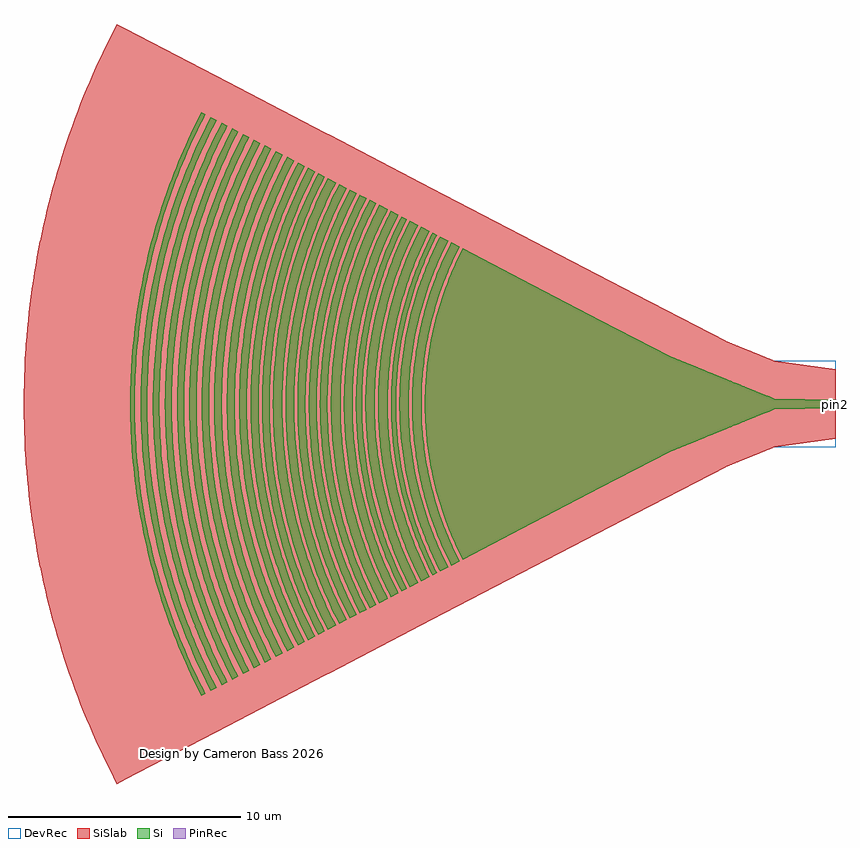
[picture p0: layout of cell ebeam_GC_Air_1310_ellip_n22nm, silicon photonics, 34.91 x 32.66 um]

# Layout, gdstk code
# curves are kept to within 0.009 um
import gdstk
lib = gdstk.Library(unit=1e-6, precision=1e-09)
def P(c, l, *ps):  # polygons
    for p in ps: c.add(gdstk.Polygon(p, *l))
Si = (1, 0)
PinRec = (1, 10)
SiSlab = (2, 0)
DevRec = (68, 0)

ebeam_gc_air_1310_ellip_ = lib.new_cell('ebeam_GC_Air_1310_ellip_n22nm')
P(ebeam_gc_air_1310_ellip_, Si, [(-16.038,-6.686),(-16.447,-5.831),(-16.763,-5.045),(-16.992,-4.377),(-17.257,-3.426),(-17.432,-2.597),(-17.559,-1.76),(-17.637,-0.916),(-17.665,-0.071),(-17.645,0.776),(-17.575,1.621),(-17.456,2.458),(-17.29,3.289),(-17.074,4.108),(-16.763,5.045),(-16.447,5.831),(-16.039,6.686),(-7.161,2.063),(-3.162,0.431),(-2.886,0.33),(-2.7,0.241),(-2.652,0.228),(0,0.175),(0,-0.175),(-2.684,-0.236),(-2.869,-0.323),(-3.209,-0.45),(-7.132,-2.05)],
  [(-16.53,-6.941),(-16.893,-6.19),(-17.229,-5.377),(-17.518,-4.546),(-17.758,-3.701),(-17.948,-2.842),(-18.088,-1.973),(-18.187,-0.952),(-18.217,-0.073),(-18.196,0.806),(-18.123,1.683),(-17.975,2.698),(-17.793,3.558),(-17.684,3.984),(-17.518,4.546),(-17.229,5.377),(-16.893,6.19),(-16.53,6.942),(-16.167,6.752),(-16.521,6.019),(-16.899,5.096),(-17.171,4.285),(-17.396,3.46),(-17.574,2.624),(-17.702,1.778),(-17.789,0.784),(-17.809,0.071),(-17.789,-0.784),(-17.702,-1.778),(-17.574,-2.623),(-17.396,-3.46),(-17.171,-4.285),(-16.899,-5.096),(-16.521,-6.019),(-16.167,-6.752)],
  [(-17.011,-7.192),(-17.387,-6.414),(-17.736,-5.572),(-18.034,-4.711),(-18.283,-3.834),(-18.479,-2.945),(-18.624,-2.045),(-18.717,-1.138),(-18.744,-0.683),(-18.758,-0.076),(-18.736,0.835),(-18.661,1.743),(-18.604,2.196),(-18.507,2.795),(-18.319,3.687),(-18.165,4.275),(-18.034,4.712),(-17.735,5.572),(-17.387,6.414),(-17.011,7.192),(-16.658,7.008),(-17.084,6.114),(-17.416,5.291),(-17.699,4.448),(-17.933,3.592),(-18.117,2.724),(-18.25,1.846),(-18.331,0.961),(-18.361,0.074),(-18.34,-0.813),(-18.25,-1.846),(-18.117,-2.724),(-17.933,-3.592),(-17.699,-4.448),(-17.416,-5.291),(-17.084,-6.114),(-16.658,-7.008)],
  [(-17.331,-7.36),(-17.716,-6.562),(-18.072,-5.701),(-18.378,-4.82),(-18.633,-3.923),(-18.834,-3.013),(-18.939,-2.4),(-19.002,-1.938),(-19.088,-1.009),(-19.119,-0.078),(-19.097,0.855),(-19.002,1.938),(-18.862,2.86),(-18.67,3.773),(-18.424,4.672),(-18.127,5.555),(-17.96,5.991),(-17.716,6.563),(-17.331,7.36),(-17.14,7.259),(-17.58,6.333),(-17.976,5.336),(-18.125,4.901),(-18.303,4.314),(-18.561,3.273),(-18.725,2.367),(-18.821,1.607),(-18.88,0.843),(-18.902,0.077),(-18.88,-0.843),(-18.821,-1.607),(-18.725,-2.367),(-18.561,-3.272),(-18.303,-4.314),(-18.125,-4.901),(-17.976,-5.335),(-17.815,-5.766),(-17.58,-6.333),(-17.14,-7.259)],
  [(-17.827,-7.617),(-18.29,-6.645),(-18.65,-5.75),(-18.958,-4.835),(-19.212,-3.905),(-19.411,-2.96),(-19.555,-2.006),(-19.644,-1.045),(-19.677,-0.08),(-19.653,0.885),(-19.574,1.846),(-19.439,2.802),(-19.212,3.905),(-18.958,4.835),(-18.65,5.75),(-18.477,6.201),(-18.225,6.793),(-17.827,7.617),(-17.46,7.425),(-17.911,6.479),(-18.207,5.753),(-18.516,4.864),(-18.772,3.959),(-18.914,3.348),(-19.005,2.886),(-19.145,1.956),(-19.209,1.332),(-19.241,0.862),(-19.263,0.078),(-19.241,-0.862),(-19.209,-1.332),(-19.145,-1.956),(-19.005,-2.886),(-18.809,-3.806),(-18.562,-4.714),(-18.262,-5.606),(-17.911,-6.479),(-17.46,-7.425)],
  [(-18.307,-7.867),(-18.58,-7.316),(-18.786,-6.862),(-19.157,-5.938),(-19.476,-4.993),(-19.738,-4.032),(-19.943,-3.057),(-20.093,-2.071),(-20.184,-1.08),(-20.218,-0.083),(-20.194,0.914),(-20.112,1.907),(-20,2.729),(-19.777,3.871),(-19.614,4.515),(-19.476,4.993),(-19.157,5.938),(-18.786,6.863),(-18.58,7.316),(-18.307,7.867),(-17.957,7.684),(-18.358,6.852),(-18.787,5.801),(-19.097,4.879),(-19.353,3.939),(-19.555,2.986),(-19.7,2.024),(-19.79,1.054),(-19.823,0.081),(-19.799,-0.892),(-19.719,-1.862),(-19.635,-2.506),(-19.555,-2.986),(-19.353,-3.938),(-19.097,-4.877),(-18.787,-5.801),(-18.358,-6.852),(-17.957,-7.684)],
  [(-18.669,-8.055),(-19.091,-7.181),(-19.482,-6.238),(-19.71,-5.598),(-19.866,-5.113),(-20.135,-4.128),(-20.345,-3.13),(-20.498,-2.12),(-20.592,-1.104),(-20.626,-0.085),(-20.602,0.935),(-20.518,1.952),(-20.375,2.962),(-20.247,3.63),(-20.135,4.128),(-20.008,4.622),(-19.816,5.275),(-19.482,6.238),(-19.091,7.181),(-18.669,8.055),(-18.436,7.934),(-18.639,7.53),(-18.918,6.921),(-19.174,6.302),(-19.351,5.832),(-19.514,5.356),(-19.708,4.715),(-19.838,4.229),(-19.99,3.577),(-20.169,2.587),(-20.274,1.756),(-20.339,0.921),(-20.363,0.084),(-20.339,-0.921),(-20.274,-1.756),(-20.169,-2.587),(-20.024,-3.412),(-19.917,-3.903),(-19.753,-4.553),(-19.565,-5.196),(-19.407,-5.673),(-19.235,-6.145),(-18.985,-6.767),(-18.711,-7.378),(-18.436,-7.933)],
  [(-19.127,-8.294),(-19.562,-7.394),(-19.837,-6.749),(-20.025,-6.259),(-20.36,-5.263),(-20.637,-4.25),(-20.853,-3.222),(-21.011,-2.183),(-21.107,-1.137),(-21.143,-0.088),(-21.133,0.613),(-21.107,1.137),(-21.011,2.183),(-20.853,3.222),(-20.637,4.25),(-20.36,5.263),(-20.025,6.259),(-19.633,7.234),(-19.416,7.712),(-19.128,8.294),(-18.799,8.122),(-19.224,7.241),(-19.492,6.609),(-19.677,6.13),(-20.005,5.154),(-20.276,4.162),(-20.425,3.492),(-20.519,2.987),(-20.663,1.968),(-20.747,0.943),(-20.772,-0.086),(-20.737,-1.114),(-20.643,-2.139),(-20.489,-3.156),(-20.276,-4.162),(-20.005,-5.154),(-19.677,-6.13),(-19.293,-7.084),(-19.081,-7.552),(-18.799,-8.122)],
  [(-19.626,-8.554),(-20.073,-7.627),(-20.488,-6.626),(-20.842,-5.602),(-21.138,-4.56),(-21.371,-3.502),(-21.544,-2.432),(-21.654,-1.353),(-21.685,-0.813),(-21.703,-0.09),(-21.677,0.993),(-21.587,2.074),(-21.436,3.146),(-21.3,3.855),(-21.181,4.385),(-20.896,5.429),(-20.672,6.117),(-20.488,6.626),(-20.073,7.627),(-19.626,8.554),(-19.257,8.361),(-19.471,7.934),(-19.766,7.292),(-20.1,6.475),(-20.28,5.977),(-20.499,5.306),(-20.777,4.284),(-20.997,3.248),(-21.155,2.202),(-21.252,1.146),(-21.288,0.088),(-21.283,-0.442),(-21.252,-1.146),(-21.155,-2.201),(-20.997,-3.248),(-20.777,-4.284),(-20.499,-5.305),(-20.337,-5.81),(-20.1,-6.475),(-19.766,-7.292),(-19.471,-7.933),(-19.257,-8.361)],
  [(-20.041,-8.77),(-20.501,-7.817),(-20.926,-6.791),(-21.29,-5.741),(-21.449,-5.21),(-21.637,-4.494),(-21.866,-3.407),(-22.032,-2.308),(-22.134,-1.203),(-22.172,-0.093),(-22.145,1.018),(-22.054,2.124),(-21.984,2.676),(-21.866,3.407),(-21.637,4.494),(-21.344,5.565),(-20.99,6.617),(-20.576,7.648),(-20.346,8.153),(-20.041,8.77),(-19.759,8.622),(-19.979,8.182),(-20.283,7.521),(-20.562,6.848),(-20.753,6.336),(-20.985,5.647),(-21.141,5.123),(-21.282,4.595),(-21.447,3.887),(-21.613,2.992),(-21.736,2.089),(-21.826,1.001),(-21.852,0.091),(-21.842,-0.637),(-21.773,-1.727),(-21.668,-2.631),(-21.484,-3.707),(-21.367,-4.241),(-21.19,-4.948),(-20.985,-5.646),(-20.753,-6.336),(-20.494,-7.016),(-20.283,-7.52),(-19.979,-8.182),(-19.759,-8.622)],
  [(-20.461,-8.989),(-20.934,-8.01),(-21.37,-6.958),(-21.742,-5.883),(-22.053,-4.788),(-22.184,-4.234),(-22.333,-3.491),(-22.503,-2.365),(-22.608,-1.232),(-22.647,-0.095),(-22.619,1.043),(-22.525,2.178),(-22.366,3.304),(-22.262,3.863),(-22.098,4.605),(-21.798,5.703),(-21.625,6.244),(-21.37,6.958),(-20.934,8.01),(-20.461,8.989),(-20.171,8.837),(-20.398,8.384),(-20.709,7.706),(-20.925,7.19),(-21.191,6.492),(-21.372,5.963),(-21.588,5.249),(-21.778,4.527),(-21.902,3.982),(-22.101,2.88),(-22.218,1.955),(-22.29,1.025),(-22.317,0.093),(-22.299,-0.839),(-22.236,-1.77),(-22.128,-2.696),(-21.94,-3.799),(-21.778,-4.527),(-21.638,-5.07),(-21.483,-5.607),(-21.253,-6.316),(-21.062,-6.842),(-20.783,-7.535),(-20.478,-8.215),(-20.171,-8.837)],
  [(-20.896,-9.215),(-21.382,-8.208),(-21.613,-7.673),(-21.827,-7.131),(-22.027,-6.583),(-22.21,-6.029),(-22.529,-4.907),(-22.663,-4.339),(-22.816,-3.577),(-22.991,-2.424),(-23.098,-1.263),(-23.137,-0.097),(-23.132,0.486),(-23.098,1.263),(-22.991,2.424),(-22.816,3.578),(-22.575,4.719),(-22.268,5.844),(-21.896,6.949),(-21.687,7.493),(-21.461,8.031),(-21.219,8.562),(-20.896,9.215),(-20.595,9.057),(-20.912,8.416),(-21.148,7.895),(-21.37,7.366),(-21.642,6.652),(-21.886,5.927),(-22.05,5.378),(-22.244,4.638),(-22.371,4.08),(-22.546,3.14),(-22.675,2.193),(-22.758,1.241),(-22.797,0.096),(-22.778,-0.86),(-22.714,-1.813),(-22.603,-2.762),(-22.41,-3.892),(-22.244,-4.638),(-22.101,-5.194),(-21.886,-5.927),(-21.706,-6.471),(-21.51,-7.01),(-21.224,-7.719),(-20.912,-8.416),(-20.595,-9.057)],
  [(-21.347,-9.45),(-21.679,-8.781),(-21.926,-8.235),(-22.158,-7.684),(-22.372,-7.126),(-22.754,-5.993),(-23.069,-4.839),(-23.316,-3.669),(-23.495,-2.486),(-23.605,-1.294),(-23.645,-0.1),(-23.64,0.498),(-23.605,1.295),(-23.495,2.486),(-23.316,3.669),(-23.069,4.839),(-22.754,5.993),(-22.372,7.126),(-22.158,7.685),(-21.926,8.236),(-21.679,8.781),(-21.347,9.45),(-21.025,9.281),(-21.266,8.801),(-21.593,8.089),(-21.82,7.547),(-22.099,6.815),(-22.349,6.073),(-22.517,5.51),(-22.715,4.752),(-22.886,3.988),(-23.055,3.024),(-23.178,2.052),(-23.254,1.076),(-23.282,0.098),(-23.263,-0.881),(-23.197,-1.858),(-23.084,-2.83),(-22.886,-3.987),(-22.715,-4.752),(-22.517,-5.51),(-22.349,-6.073),(-22.099,-6.815),(-21.893,-7.365),(-21.593,-8.089),(-21.35,-8.623),(-21.025,-9.281)],
  [(-21.835,-9.703),(-22.174,-9.018),(-22.428,-8.458),(-22.666,-7.892),(-22.886,-7.318),(-23.091,-6.74),(-23.278,-6.155),(-23.449,-5.564),(-23.602,-4.97),(-23.738,-4.371),(-23.855,-3.768),(-23.956,-3.162),(-24.039,-2.553),(-24.152,-1.33),(-24.182,-0.716),(-24.193,-0.102),(-24.164,1.126),(-24.063,2.35),(-23.956,3.162),(-23.855,3.768),(-23.738,4.371),(-23.602,4.97),(-23.449,5.565),(-23.278,6.155),(-23.091,6.74),(-22.886,7.319),(-22.666,7.892),(-22.428,8.458),(-22.174,9.018),(-21.835,9.704),(-21.476,9.516),(-21.81,8.842),(-22.058,8.294),(-22.365,7.552),(-22.577,6.988),(-22.772,6.418),(-23.005,5.65),(-23.161,5.068),(-23.343,4.286),(-23.526,3.299),(-23.662,2.305),(-23.761,1.104),(-23.79,0.1),(-23.771,-0.903),(-23.703,-1.905),(-23.639,-2.504),(-23.557,-3.1),(-23.383,-4.089),(-23.209,-4.873),(-23.059,-5.456),(-22.833,-6.226),(-22.644,-6.798),(-22.438,-7.365),(-22.138,-8.11),(-21.81,-8.842),(-21.476,-9.516)],
  [(-22.249,-9.919),(-22.771,-8.836),(-23.02,-8.259),(-23.251,-7.676),(-23.663,-6.49),(-23.843,-5.889),(-24.056,-5.08),(-24.314,-3.851),(-24.417,-3.232),(-24.502,-2.609),(-24.569,-1.985),(-24.618,-1.36),(-24.66,-0.105),(-24.654,0.524),(-24.63,1.151),(-24.527,2.401),(-24.448,3.025),(-24.351,3.645),(-24.236,4.262),(-24.056,5.08),(-23.725,6.291),(-23.533,6.889),(-23.251,7.676),(-23.02,8.26),(-22.771,8.837),(-22.249,9.919),(-21.964,9.77),(-22.305,9.079),(-22.56,8.517),(-22.875,7.755),(-23.093,7.175),(-23.293,6.591),(-23.532,5.802),(-23.692,5.204),(-23.879,4.401),(-23.998,3.794),(-24.099,3.183),(-24.228,2.161),(-24.308,1.133),(-24.338,0.103),(-24.308,-1.133),(-24.228,-2.161),(-24.099,-3.183),(-23.998,-3.794),(-23.879,-4.401),(-23.692,-5.204),(-23.532,-5.801),(-23.293,-6.59),(-23.093,-7.175),(-22.876,-7.754),(-22.56,-8.516),(-22.305,-9.079),(-21.964,-9.77)],
  [(-22.683,-10.145),(-22.948,-9.617),(-23.219,-9.035),(-23.474,-8.445),(-23.71,-7.849),(-23.929,-7.246),(-24.194,-6.433),(-24.373,-5.815),(-24.533,-5.194),(-24.675,-4.568),(-24.797,-3.938),(-24.903,-3.305),(-24.99,-2.668),(-25.058,-2.03),(-25.108,-1.389),(-25.139,-0.749),(-25.151,-0.107),(-25.145,0.536),(-25.12,1.177),(-25.077,1.817),(-25.015,2.455),(-24.934,3.093),(-24.835,3.727),(-24.675,4.568),(-24.533,5.194),(-24.373,5.815),(-24.194,6.433),(-23.998,7.044),(-23.785,7.649),(-23.555,8.248),(-23.306,8.84),(-23.04,9.425),(-22.683,10.145),(-22.381,9.987),(-22.731,9.279),(-22.992,8.704),(-23.314,7.925),(-23.536,7.334),(-23.805,6.535),(-23.985,5.929),(-24.149,5.318),(-24.34,4.498),(-24.532,3.463),(-24.675,2.418),(-24.766,1.368),(-24.797,0.738),(-24.809,0.105),(-24.789,-0.948),(-24.697,-2.208),(-24.565,-3.253),(-24.34,-4.498),(-24.149,-5.318),(-23.985,-5.929),(-23.805,-6.535),(-23.536,-7.333),(-23.314,-7.925),(-22.992,-8.704),(-22.731,-9.279),(-22.381,-9.987)],
  [(-23.115,-10.37),(-23.484,-9.627),(-23.755,-9.03),(-24.009,-8.426),(-24.245,-7.813),(-24.463,-7.195),(-24.663,-6.571),(-24.845,-5.941),(-25.009,-5.306),(-25.28,-4.023),(-25.387,-3.376),(-25.476,-2.726),(-25.546,-2.074),(-25.597,-1.419),(-25.629,-0.765),(-25.641,-0.109),(-25.635,0.547),(-25.61,1.202),(-25.565,1.856),(-25.502,2.508),(-25.419,3.16),(-25.28,4.023),(-25.009,5.306),(-24.845,5.941),(-24.663,6.571),(-24.463,7.196),(-24.245,7.814),(-24.009,8.426),(-23.755,9.03),(-23.484,9.627),(-23.115,10.37),(-22.829,10.221),(-23.189,9.491),(-23.542,8.706),(-23.786,8.107),(-24.013,7.501),(-24.288,6.685),(-24.473,6.065),(-24.64,5.441),(-24.836,4.601),(-25.033,3.542),(-25.126,2.902),(-25.201,2.259),(-25.284,1.185),(-25.316,0.108),(-25.295,-0.97),(-25.257,-1.615),(-25.201,-2.259),(-25.033,-3.542),(-24.836,-4.601),(-24.692,-5.231),(-24.473,-6.065),(-24.288,-6.685),(-24.013,-7.501),(-23.786,-8.107),(-23.456,-8.903),(-23.189,-9.491),(-22.829,-10.22)],
  [(-23.584,-10.615),(-24.152,-9.442),(-24.418,-8.825),(-24.665,-8.202),(-24.895,-7.572),(-25.106,-6.935),(-25.299,-6.292),(-25.473,-5.645),(-25.628,-4.991),(-25.803,-4.115),(-25.914,-3.453),(-26.005,-2.788),(-26.076,-2.121),(-26.128,-1.453),(-26.161,-0.782),(-26.174,-0.112),(-26.167,0.56),(-26.141,1.23),(-26.096,1.899),(-26.031,2.566),(-25.946,3.232),(-25.842,3.895),(-25.674,4.774),(-25.526,5.428),(-25.359,6.077),(-25.172,6.722),(-24.967,7.361),(-24.744,7.993),(-24.503,8.619),(-24.243,9.237),(-23.965,9.848),(-23.584,10.615),(-23.287,10.459),(-23.564,9.907),(-23.932,9.106),(-24.188,8.496),(-24.502,7.672),(-24.716,7.047),(-24.973,6.203),(-25.144,5.565),(-25.344,4.706),(-25.546,3.622),(-25.695,2.529),(-25.758,1.872),(-25.803,1.212),(-25.835,0.11),(-25.814,-0.992),(-25.776,-1.652),(-25.718,-2.31),(-25.641,-2.967),(-25.546,-3.622),(-25.344,-4.706),(-25.144,-5.564),(-24.973,-6.203),(-24.716,-7.046),(-24.502,-7.671),(-24.188,-8.496),(-23.932,-9.106),(-23.564,-9.907),(-23.287,-10.459)],
  [(-24.067,-10.866),(-24.361,-10.281),(-24.651,-9.659),(-24.924,-9.028),(-25.177,-8.391),(-25.412,-7.747),(-25.696,-6.876),(-25.887,-6.217),(-26.058,-5.553),(-26.162,-5.106),(-26.342,-4.21),(-26.455,-3.533),(-26.548,-2.852),(-26.621,-2.17),(-26.674,-1.486),(-26.708,-0.8),(-26.721,-0.114),(-26.714,0.573),(-26.688,1.258),(-26.621,2.17),(-26.548,2.853),(-26.455,3.533),(-26.342,4.21),(-26.162,5.107),(-26.058,5.553),(-25.887,6.217),(-25.696,6.877),(-25.412,7.747),(-25.177,8.391),(-24.924,9.029),(-24.651,9.659),(-24.361,10.282),(-24.067,10.866),(-23.775,10.713),(-24.062,10.141),(-24.439,9.321),(-24.785,8.487),(-25.023,7.854),(-25.311,6.998),(-25.505,6.349),(-25.735,5.476),(-25.885,4.817),(-26.092,3.708),(-26.245,2.589),(-26.343,1.465),(-26.376,0.79),(-26.389,0.113),(-26.367,-1.015),(-26.327,-1.691),(-26.269,-2.365),(-26.127,-3.484),(-26.016,-4.152),(-25.885,-4.816),(-25.735,-5.476),(-25.505,-6.349),(-25.311,-6.998),(-25.023,-7.853),(-24.785,-8.487),(-24.439,-9.321),(-24.062,-10.141),(-23.775,-10.713)],
  [(-24.537,-11.111),(-24.84,-10.509),(-25.137,-9.873),(-25.416,-9.228),(-25.674,-8.577),(-25.915,-7.918),(-26.136,-7.252),(-26.4,-6.355),(-26.576,-5.676),(-26.682,-5.22),(-26.866,-4.303),(-26.981,-3.611),(-27.076,-2.916),(-27.151,-2.218),(-27.206,-1.518),(-27.24,-0.818),(-27.253,-0.117),(-27.24,0.818),(-27.206,1.519),(-27.151,2.219),(-27.076,2.916),(-26.981,3.611),(-26.866,4.303),(-26.682,5.22),(-26.576,5.676),(-26.4,6.355),(-26.136,7.252),(-25.915,7.918),(-25.674,8.577),(-25.416,9.229),(-25.137,9.873),(-24.84,10.51),(-24.537,11.111),(-24.256,10.964),(-24.653,10.164),(-24.94,9.534),(-25.208,8.895),(-25.537,8.033),(-25.832,7.158),(-26.03,6.495),(-26.21,5.825),(-26.369,5.152),(-26.593,4.02),(-26.7,3.336),(-26.787,2.648),(-26.888,1.499),(-26.921,0.808),(-26.934,0.115),(-26.928,-0.577),(-26.901,-1.269),(-26.811,-2.419),(-26.731,-3.107),(-26.631,-3.792),(-26.419,-4.926),(-26.21,-5.825),(-26.03,-6.494),(-25.832,-7.158),(-25.537,-8.032),(-25.294,-8.681),(-24.94,-9.534),(-24.653,-10.164),(-24.256,-10.964)],
  [(-25.01,-11.357),(-25.321,-10.739),(-25.625,-10.09),(-25.909,-9.431),(-26.175,-8.765),(-26.419,-8.092),(-26.645,-7.411),(-26.852,-6.724),(-27.038,-6.031),(-27.203,-5.334),(-27.348,-4.632),(-27.472,-3.926),(-27.577,-3.217),(-27.66,-2.505),(-27.723,-1.79),(-27.774,-0.836),(-27.788,-0.12),(-27.781,0.597),(-27.753,1.314),(-27.704,2.029),(-27.635,2.742),(-27.544,3.454),(-27.392,4.397),(-27.254,5.102),(-27.095,5.8),(-26.916,6.494),(-26.716,7.183),(-26.497,7.866),(-26.175,8.765),(-25.909,9.432),(-25.625,10.09),(-25.321,10.739),(-25.01,11.357),(-24.736,11.214),(-25.042,10.606),(-25.437,9.748),(-25.711,9.095),(-25.967,8.436),(-26.203,7.768),(-26.487,6.867),(-26.677,6.186),(-26.899,5.268),(-27.128,4.111),(-27.237,3.411),(-27.326,2.709),(-27.395,2.004),(-27.443,1.297),(-27.477,0.118),(-27.47,-0.589),(-27.443,-1.297),(-27.351,-2.473),(-27.203,-3.644),(-27.087,-4.343),(-26.95,-5.037),(-26.736,-5.956),(-26.552,-6.64),(-26.277,-7.544),(-26.048,-8.213),(-25.799,-8.876),(-25.437,-9.748),(-25.042,-10.606),(-24.736,-11.213)],
  [(-25.472,-11.597),(-25.79,-10.965),(-26.1,-10.302),(-26.39,-9.63),(-26.66,-8.949),(-26.911,-8.262),(-27.142,-7.567),(-27.353,-6.866),(-27.543,-6.159),(-27.764,-5.209),(-27.904,-4.49),(-28.025,-3.768),(-28.124,-3.042),(-28.202,-2.315),(-28.259,-1.584),(-28.294,-0.854),(-28.309,-0.122),(-28.294,0.854),(-28.259,1.584),(-28.202,2.315),(-28.124,3.042),(-28.025,3.768),(-27.904,4.49),(-27.764,5.209),(-27.601,5.922),(-27.418,6.631),(-27.215,7.333),(-26.991,8.031),(-26.746,8.721),(-26.483,9.404),(-26.199,10.079),(-25.895,10.746),(-25.472,11.597),(-25.21,11.46),(-25.628,10.619),(-25.927,9.961),(-26.297,9.07),(-26.552,8.392),(-26.86,7.479),(-27.067,6.786),(-27.255,6.086),(-27.422,5.383),(-27.569,4.674),(-27.695,3.963),(-27.858,2.768),(-27.928,2.048),(-27.977,1.326),(-28.012,0.121),(-27.989,-1.085),(-27.947,-1.807),(-27.884,-2.527),(-27.8,-3.246),(-27.695,-3.962),(-27.474,-5.146),(-27.255,-6.086),(-27.067,-6.785),(-26.86,-7.479),(-26.552,-8.392),(-26.297,-9.07),(-25.927,-9.961),(-25.628,-10.619),(-25.21,-11.46)],
  [(-25.937,-11.839),(-26.262,-11.193),(-26.579,-10.516),(-26.875,-9.83),(-27.151,-9.136),(-27.407,-8.434),(-27.643,-7.724),(-27.858,-7.009),(-28.052,-6.286),(-28.277,-5.316),(-28.421,-4.583),(-28.543,-3.846),(-28.645,-3.105),(-28.725,-2.363),(-28.783,-1.618),(-28.819,-0.871),(-28.833,-0.125),(-28.819,0.871),(-28.783,1.618),(-28.725,2.363),(-28.645,3.106),(-28.543,3.847),(-28.421,4.583),(-28.276,5.316),(-28.111,6.045),(-27.925,6.769),(-27.717,7.486),(-27.488,8.198),(-27.239,8.902),(-26.97,9.6),(-26.579,10.516),(-26.262,11.193),(-25.937,11.84),(-25.68,11.705),(-26.001,11.068),(-26.413,10.173),(-26.699,9.491),(-27.051,8.57),(-27.29,7.872),(-27.578,6.93),(-27.769,6.216),(-27.993,5.257),(-28.218,4.047),(-28.385,2.826),(-28.457,2.091),(-28.507,1.354),(-28.543,0.123),(-28.535,-0.615),(-28.507,-1.354),(-28.411,-2.581),(-28.256,-3.802),(-28.135,-4.531),(-27.993,-5.257),(-27.769,-6.215),(-27.578,-6.929),(-27.29,-7.872),(-27.051,-8.57),(-26.791,-9.262),(-26.413,-10.172),(-26.001,-11.067),(-25.68,-11.705)],
  [(-26.396,-12.078),(-26.728,-11.418),(-27.051,-10.728),(-27.544,-9.556),(-27.896,-8.603),(-28.136,-7.879),(-28.355,-7.149),(-28.553,-6.414),(-28.783,-5.423),(-28.93,-4.675),(-29.055,-3.924),(-29.158,-3.168),(-29.24,-2.41),(-29.299,-1.651),(-29.336,-0.889),(-29.351,-0.127),(-29.343,0.636),(-29.314,1.397),(-29.262,2.157),(-29.188,2.916),(-29.092,3.672),(-28.93,4.675),(-28.782,5.424),(-28.614,6.167),(-28.424,6.905),(-28.212,7.637),(-27.978,8.363),(-27.724,9.081),(-27.45,9.793),(-27.051,10.728),(-26.728,11.418),(-26.396,12.078),(-26.149,11.949),(-26.477,11.298),(-26.898,10.384),(-27.283,9.455),(-27.549,8.75),(-27.793,8.036),(-28.087,7.074),(-28.282,6.345),(-28.456,5.612),(-28.61,4.873),(-28.741,4.131),(-28.911,2.886),(-29.021,1.633),(-29.057,0.88),(-29.072,0.126),(-29.064,-0.628),(-29.035,-1.382),(-28.938,-2.635),(-28.85,-3.384),(-28.741,-4.131),(-28.61,-4.873),(-28.456,-5.612),(-28.282,-6.345),(-28.017,-7.315),(-27.714,-8.274),(-27.463,-8.985),(-27.19,-9.688),(-26.898,-10.384),(-26.586,-11.07),(-26.149,-11.949)],
  [(-26.866,-12.323),(-27.31,-11.429),(-27.632,-10.721),(-27.934,-10.003),(-28.214,-9.276),(-28.473,-8.543),(-28.711,-7.801),(-28.927,-7.053),(-29.122,-6.299),(-29.293,-5.539),(-29.443,-4.776),(-29.571,-4.008),(-29.677,-3.236),(-29.759,-2.462),(-29.82,-1.685),(-29.858,-0.908),(-29.873,-0.13),(-29.858,0.908),(-29.82,1.685),(-29.759,2.462),(-29.677,3.236),(-29.571,4.008),(-29.443,4.776),(-29.294,5.541),(-29.122,6.299),(-28.927,7.053),(-28.711,7.801),(-28.473,8.543),(-28.214,9.277),(-27.934,10.003),(-27.632,10.721),(-27.31,11.429),(-26.866,12.324),(-26.616,12.193),(-26.951,11.527),(-27.381,10.595),(-27.679,9.885),(-27.957,9.168),(-28.214,8.442),(-28.449,7.709),(-28.729,6.723),(-28.914,5.976),(-29.078,5.223),(-29.219,4.467),(-29.338,3.707),(-29.435,2.943),(-29.509,2.178),(-29.561,1.41),(-29.599,0.128),(-29.574,-1.154),(-29.529,-1.922),(-29.462,-2.688),(-29.301,-3.96),(-29.174,-4.72),(-29.026,-5.475),(-28.793,-6.473),(-28.593,-7.217),(-28.373,-7.955),(-28.045,-8.926),(-27.774,-9.647),(-27.381,-10.595),(-26.951,-11.527),(-26.616,-12.192)],
  [(-27.264,-12.531),(-27.723,-11.606),(-28.051,-10.886),(-28.357,-10.158),(-28.641,-9.42),(-28.905,-8.674),(-29.146,-7.921),(-29.366,-7.162),(-29.563,-6.397),(-29.738,-5.626),(-29.89,-4.849),(-30.02,-4.07),(-30.127,-3.286),(-30.211,-2.5),(-30.267,-1.792),(-30.311,-0.922),(-30.326,-0.132),(-30.318,0.659),(-30.288,1.449),(-30.234,2.238),(-30.127,3.286),(-30.02,4.07),(-29.89,4.85),(-29.738,5.626),(-29.563,6.397),(-29.366,7.162),(-29.146,7.922),(-28.905,8.675),(-28.641,9.42),(-28.357,10.158),(-27.944,11.128),(-27.609,11.844),(-27.264,12.531),(-27.095,12.442),(-27.429,11.776),(-27.761,11.064),(-28.171,10.099),(-28.455,9.366),(-28.717,8.625),(-28.957,7.876),(-29.243,6.868),(-29.431,6.105),(-29.697,4.822),(-29.826,4.046),(-29.932,3.268),(-30.016,2.486),(-30.077,1.702),(-30.115,0.917),(-30.13,0.131),(-30.105,-1.179),(-30.059,-1.964),(-29.99,-2.746),(-29.899,-3.527),(-29.785,-4.305),(-29.649,-5.079),(-29.489,-5.849),(-29.308,-6.614),(-29.105,-7.373),(-28.879,-8.127),(-28.545,-9.119),(-28.268,-9.856),(-27.867,-10.824),(-27.429,-11.776),(-27.095,-12.442)])
P(ebeam_gc_air_1310_ellip_, SiSlab, [(-30.904,-16.329),(-31.366,-15.41),(-31.801,-14.477),(-32.208,-13.533),(-32.588,-12.577),(-32.94,-11.61),(-33.264,-10.634),(-33.559,-9.648),(-33.825,-8.655),(-34.062,-7.654),(-34.27,-6.647),(-34.449,-5.634),(-34.598,-4.616),(-34.717,-3.594),(-34.807,-2.569),(-34.867,-1.543),(-34.9,-0.171),(-34.89,0.857),(-34.85,1.885),(-34.781,2.912),(-34.681,3.935),(-34.552,4.956),(-34.393,5.972),(-34.135,7.319),(-33.907,8.322),(-33.651,9.318),(-33.365,10.307),(-33.051,11.286),(-32.709,12.256),(-32.338,13.216),(-31.94,14.164),(-31.366,15.41),(-30.904,16.329),(-4.744,2.708),(-2.65,1.855),(0,1.5),(0,-1.5),(-2.65,-1.855),(-4.728,-2.7)])
P(ebeam_gc_air_1310_ellip_, DevRec, [(-30.904,-16.329),(-31.366,-15.41),(-31.801,-14.477),(-32.208,-13.533),(-32.588,-12.577),(-32.94,-11.61),(-33.264,-10.634),(-33.559,-9.648),(-33.825,-8.655),(-34.062,-7.654),(-34.27,-6.647),(-34.449,-5.634),(-34.598,-4.616),(-34.717,-3.594),(-34.807,-2.569),(-34.867,-1.543),(-34.9,-0.171),(-34.89,0.857),(-34.85,1.885),(-34.781,2.912),(-34.681,3.935),(-34.552,4.956),(-34.393,5.972),(-34.135,7.319),(-33.907,8.322),(-33.651,9.318),(-33.365,10.307),(-33.051,11.286),(-32.709,12.256),(-32.338,13.216),(-31.94,14.164),(-31.366,15.41),(-30.904,16.329),(-4.744,2.708),(-2.65,1.855),(0,1.855),(0,-1.855),(-2.65,-1.855),(-4.728,-2.7)])
ebeam_gc_air_1310_ellip_.add(gdstk.FlexPath([(-0.01,0),(0.01,0)], 0.35, ends="flush", simple_path=True, layer=1, datatype=10))  # PinRec
ebeam_gc_air_1310_ellip_.add(gdstk.Label('pin2', (0,0), layer=1, texttype=10))
ebeam_gc_air_1310_ellip_.add(gdstk.Label('Design by Cameron Bass 2026', (-25.94,-15.02), layer=10, texttype=0))

lib.write_gds('ebeam_GC_Air_1310_ellip_n22nm.gds')
